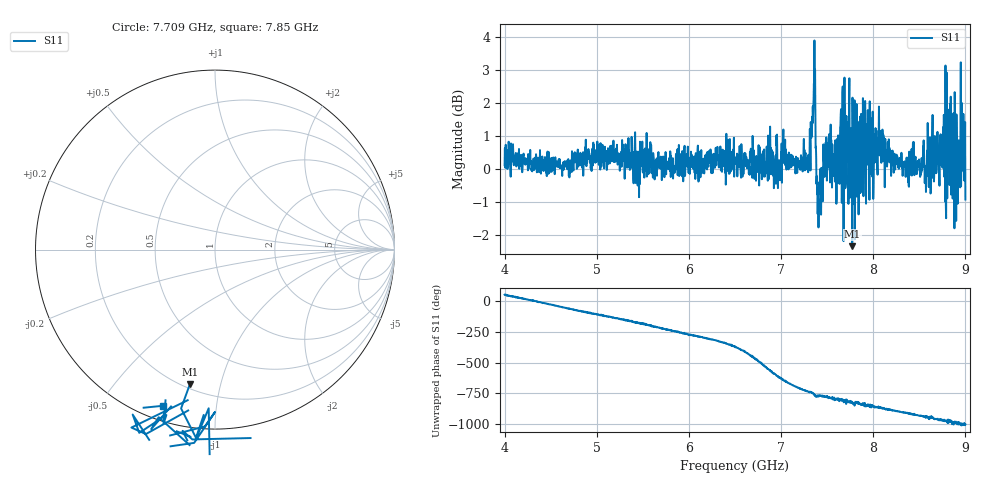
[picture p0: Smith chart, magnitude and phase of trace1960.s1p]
! Created with skrf 1.8.0 (http://scikit-rf.org).
# Hz S RI R 50.0
!freq ReS11 ImS11
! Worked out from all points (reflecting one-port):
!   1601 points, 4 GHz to 9 GHz, reference 50 ohm
!   lowest |S11| = -2.3 dB at 7.772 GHz (marker M1), VSWR 7.45, Z = 11.2 - j40.3 ohm
!   phase of S11 starts at 50 deg and turns -1052 deg over the sweep
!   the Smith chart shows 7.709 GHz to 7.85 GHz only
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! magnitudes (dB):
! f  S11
! 4 GHz  0.1
! 4.625 GHz  -0.2
! 5.25 GHz  -0.1
! 5.875 GHz  0.6
! 6.5 GHz  0.3
! 7.125 GHz  0.3
! 7.294 GHz  -0.1
! 7.347 GHz  1.6
! 7.369 GHz  3.0
! 7.397 GHz  -1.4
! 7.409 GHz  -1.0
! 7.503 GHz  0.0
! 7.609 GHz  0.5
! 7.644 GHz  1.3
! 7.75 GHz  -0.9
! 7.772 GHz  -2.3
! 7.856 GHz  0.5
! 7.922 GHz  -1.1
! 8.022 GHz  0.3
! 8.084 GHz  0.7
! 8.375 GHz  0.0
! 8.728 GHz  0.3
! 8.819 GHz  1.2
! 8.875 GHz  1.1
! 8.919 GHz  0.2
! 8.956 GHz  0.0
! 8.972 GHz  0.9
! 9 GHz  -0.9
